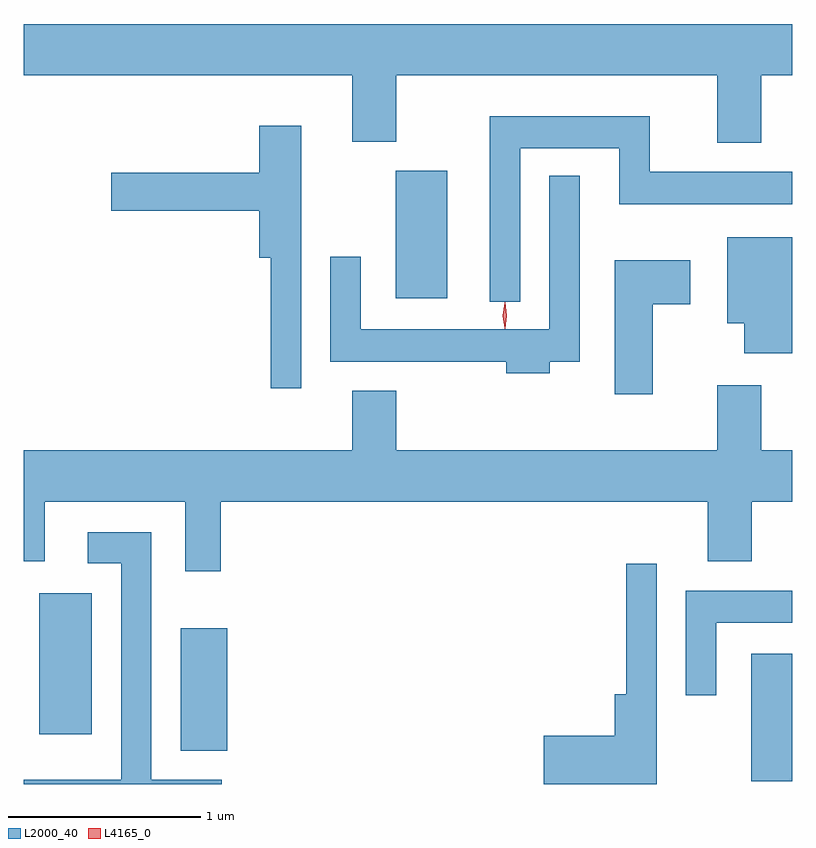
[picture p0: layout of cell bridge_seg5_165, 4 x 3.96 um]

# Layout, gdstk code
import gdstk
lib = gdstk.Library(unit=1e-6, precision=1e-09)
def R(c, l, rs):  # rectangles x0, y0, x1, y1
    for r in rs: c.add(gdstk.rectangle(r[:2], r[2:], *l))
def P(c, l, *ps):  # polygons
    for p in ps: c.add(gdstk.Polygon(p, *l))
L2000_40 = (2000, 40)
L4165_0 = (4165, 0)

bridge_seg5_165 = lib.new_cell('bridge_seg5_165')
R(bridge_seg5_165, L2000_40, [(1170.976,1413.161,1171.19,1413.824), (1168.006,1413.321,1168.249,1413.959), (1167.271,1413.406,1167.544,1414.139), (1169.126,1415.676,1169.394,1416.339)])
P(bridge_seg5_165, L2000_40, [(1171.029,1416.836),(1171.19,1416.836),(1171.19,1417.104),(1167.19,1417.104),(1167.19,1416.836),(1168.901,1416.836),(1168.901,1416.491),(1169.129,1416.491),(1169.129,1416.836),(1170.801,1416.836),(1170.801,1416.486),(1171.029,1416.486)],
  [(1169.774,1416.456),(1170.291,1416.456),(1170.291,1416.166),(1171.19,1416.166),(1171.19,1416.334),(1170.449,1416.334),(1170.449,1416.624),(1169.616,1416.624),(1169.616,1415.658),(1169.774,1415.658)],
  [(1168.634,1416.574),(1168.416,1416.574),(1168.416,1416.329),(1167.646,1416.329),(1167.646,1416.131),(1168.416,1416.131),(1168.416,1415.886),(1168.476,1415.886),(1168.476,1415.208),(1168.634,1415.208)],
  [(1169.929,1415.346),(1170.084,1415.346),(1170.084,1416.313),(1169.926,1416.313),(1169.926,1415.514),(1168.944,1415.514),(1168.944,1415.893),(1168.786,1415.893),(1168.786,1415.346),(1169.701,1415.346),(1169.701,1415.286),(1169.929,1415.286)],
  [(1171.19,1415.994),(1170.851,1415.994),(1170.851,1415.546),(1170.941,1415.546),(1170.941,1415.391),(1171.19,1415.391)],
  [(1170.464,1415.646),(1170.659,1415.646),(1170.659,1415.874),(1170.266,1415.874),(1170.266,1415.176),(1170.464,1415.176)],
  [(1170.801,1414.884),(1169.129,1414.884),(1169.129,1415.194),(1168.901,1415.194),(1168.901,1414.884),(1167.19,1414.884),(1167.19,1414.306),(1167.299,1414.306),(1167.299,1414.616),(1168.031,1414.616),(1168.031,1414.256),(1168.214,1414.256),(1168.214,1414.616),(1170.751,1414.616),(1170.751,1414.306),(1170.979,1414.306),(1170.979,1414.616),(1171.19,1414.616),(1171.19,1414.884),(1171.029,1414.884),(1171.029,1415.224),(1170.801,1415.224)],
  [(1168.219,1413.169),(1167.854,1413.169),(1167.854,1414.459),(1167.523,1414.459),(1167.523,1414.296),(1167.696,1414.296),(1167.696,1413.169),(1167.19,1413.169),(1167.19,1413.147),(1168.219,1413.147)],
  [(1170.484,1414.293),(1170.326,1414.293),(1170.326,1413.614),(1170.266,1413.614),(1170.266,1413.399),(1169.896,1413.399),(1169.896,1413.147),(1170.484,1413.147)],
  [(1170.794,1413.986),(1171.19,1413.986),(1171.19,1414.154),(1170.636,1414.154),(1170.636,1413.608),(1170.794,1413.608)])
P(bridge_seg5_165, L4165_0, [(1169.694,1415.517),(1169.685,1415.586),(1169.694,1415.656),(1169.695,1415.656),(1169.696,1415.656),(1169.705,1415.586),(1169.696,1415.517),(1169.695,1415.517)],
  [(1169.694,1415.519),(1169.694,1415.52),(1169.684,1415.586),(1169.694,1415.652),(1169.694,1415.653),(1169.694,1415.652),(1169.704,1415.586),(1169.694,1415.52)])

lib.write_gds('bridge_seg5_165.gds')
